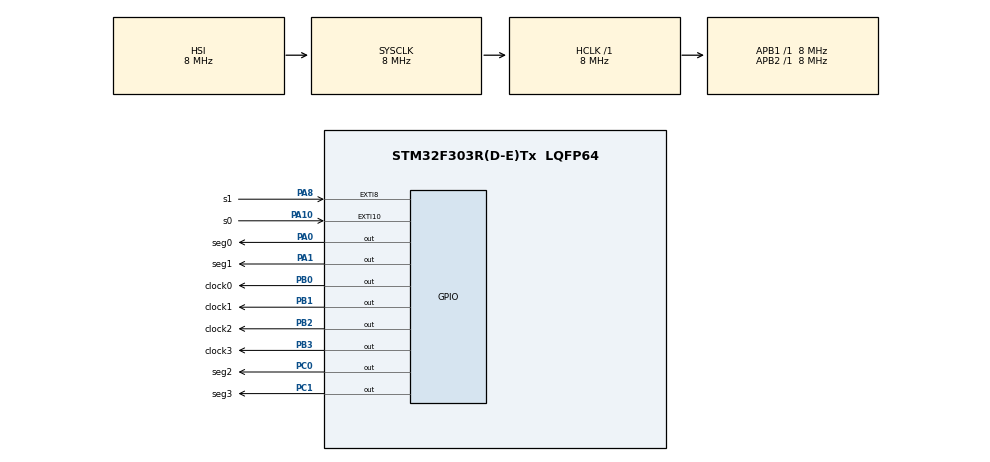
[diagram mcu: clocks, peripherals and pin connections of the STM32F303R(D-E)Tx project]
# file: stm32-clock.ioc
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Mcu.Family=STM32F3
Mcu.Name=STM32F303R(D-E)Tx
Mcu.Package=LQFP64
NVIC.EXTI15_10_IRQn=true\:0\:0\:true\:false\:true\:true\:true\:true
NVIC.EXTI9_5_IRQn=true\:0\:0\:false\:false\:true\:true\:true\:true
NVIC.PriorityGroup=NVIC_PRIORITYGROUP_4
NVIC.TIM3_IRQn=true\:0\:0\:true\:false\:true\:true\:true\:true
NVIC.TIM4_IRQn=true\:0\:0\:true\:false\:true\:true\:true\:true
PA0.GPIO_Label=seg0
PA0.Signal=GPIO_Output
PA1.GPIO_Label=seg1
PA1.Signal=GPIO_Output
PA10.GPIO_Label=s0
PA10.GPIO_ModeDefaultEXTI=GPIO_MODE_IT_FALLING
PA10.GPIO_PuPd=GPIO_PULLUP
PA10.Signal=GPXTI10
PA8.GPIO_Label=s1
PA8.GPIO_ModeDefaultEXTI=GPIO_MODE_IT_FALLING
PA8.GPIO_PuPd=GPIO_PULLUP
PA8.Signal=GPXTI8
PB0.GPIO_Label=clock0
PB0.Signal=GPIO_Output
PB1.GPIO_Label=clock1
PB1.Signal=GPIO_Output
PB2.GPIO_Label=clock2
PB2.Signal=GPIO_Output
PB3.GPIO_Label=clock3
PB3.Signal=GPIO_Output
PC0.GPIO_Label=seg2
PC0.Signal=GPIO_Output
PC1.GPIO_Label=seg3
PC1.Signal=GPIO_Output
PC14-OSC32_IN.Mode=LSE-External-Oscillator
PC14-OSC32_IN.Signal=RCC_OSC32_IN
PC15-OSC32_OUT.Mode=LSE-External-Oscillator
PC15-OSC32_OUT.Signal=RCC_OSC32_OUT
ProjectManager.HeapSize=0x200
ProjectManager.StackSize=0x400
ProjectManager.TargetToolchain=STM32CubeIDE
RCC.AHBFreq_Value=8000000
RCC.APB1Freq_Value=8000000
RCC.APB2Freq_Value=8000000
RCC.CortexFreq_Value=8000000
RCC.HSE_VALUE=8000000
RCC.HSI_VALUE=8000000
RCC.RTCClockSelection=RCC_RTCCLKSOURCE_LSE
RCC.SYSCLKFreq_VALUE=8000000
RCC.USBFreq_Value=16000000
RTC.Format=RTC_FORMAT_BIN
RTC.Hours=20
RTC.Minutes=53
TIM3.AutoReloadPreload=TIM_AUTORELOAD_PRELOAD_ENABLE
TIM3.Period=1000-1
TIM3.Prescaler=16
TIM4.AutoReloadPreload=TIM_AUTORELOAD_PRELOAD_ENABLE
TIM4.Period=1000-1
TIM4.Prescaler=4000
VP_RTC_VS_RTC_Activate.Mode=RTC_Enabled
VP_RTC_VS_RTC_Calendar.Mode=RTC_Calendar
VP_TIM3_VS_ClockSourceITR.Mode=TriggerSource_ITR0
VP_TIM4_VS_ClockSourceITR.Mode=TriggerSource_ITR0
board=custom

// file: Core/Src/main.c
/* USER CODE BEGIN Header */
/**
  ******************************************************************************
  * @file           : main.c
  * @brief          : Main program body
  ******************************************************************************
  * @attention
  *
  * Copyright (c) 2022 STMicroelectronics.
  * All rights reserved.
  *
  * This software is licensed under terms that can be found in the LICENSE file
  * in the root directory of this software component.
  * If no LICENSE file comes with this software, it is provided AS-IS.
  *
  ******************************************************************************
  *
  *		Name:	STM32 clock with 7-segment display
  *	  Author:	crlhz
  *	  	Date: 	2023-02-24
  *
  *	  github:	https://github.com/crlhz
  *	 contact:	crlhz@proton.me
  *
  ******************************************************************************
  */
/* USER CODE END Header */
#include "main.h"
#include "rtc.h"
#include "tim.h"
#include "gpio.h"

/* USER CODE BEGIN Includes */
#include "7seg_4056.h"
#include "clock.h"

/*
 * 	WARNING: In case of using STM32CubeMX, replace 65 and 66 lines with following:
 *
 * 	  	sTime.Hours = rtc_time.d_hours * 10 + rtc_time.u_hours;
 * 	  	sTime.Minutes = rtc_time.d_minutes * 10 + rtc_time.u_minutes;
 */

/* USER CODE END Includes */

/* USER CODE BEGIN PV */
RTC_TimeTypeDef time;
RTC_DateTypeDef date;

segments value = {0, 0, 0, 0};
mytime temp_time = {0, 0, 0, 0};
/* USER CODE END PV */

void SystemClock_Config(void);
/* USER CODE BEGIN PFP */
void HAL_TIM_PeriodElapsedCallback(TIM_HandleTypeDef* htim){

	if(htim == &htim3){
		//here specific values are sent to displays
		seg_display(value.seg0, value.seg1, value.seg2, value.seg3);

		//clock_time_set == 0 -> time isn't set, so handle buttons
		//clock_time_set == 1 -> time is set, so initialize RTC
		//clock_time_set == 2 -> time is set and RTC is initialized so get time and display it
		switch(clock_time_set){
			case 0:
				temp_time = clock_button_handler();
				break;
			case 1:
				MX_RTC_Init();
				HAL_TIM_Base_Stop_IT(&htim4);
				clock_time_set = 2;
			case 2:
				HAL_RTC_GetTime(&hrtc, &time, RTC_FORMAT_BIN);
				HAL_RTC_GetDate(&hrtc, &date, RTC_FORMAT_BIN);
				value.seg0 = time.Hours / 10;
				value.seg1 = time.Hours % 10;
				value.seg2 = time.Minutes / 10;
				value.seg3 = time.Minutes % 10;
				break;
			default:
				clock_time_set = 0;
			}
	}

	if(htim == &htim4){
		value = clock_set_mode(temp_time.d_hours, temp_time.u_hours, temp_time.d_minutes, temp_time.u_minutes);
	}
}

void HAL_GPIO_EXTI_Callback(uint16_t GPIO_Pin){

	if(GPIO_Pin == s0_Pin){
		clock_active_button = 0;
	}

	if(GPIO_Pin == s1_Pin){
		clock_active_button = 1;
	}

}

/* USER CODE END PFP */

int main(void)
{

  /* MCU Configuration--------------------------------------------------------*/

  /* Reset of all peripherals, Initializes the Flash interface and the Systick. */
  HAL_Init();

  /* Configure the system clock */
  SystemClock_Config();

  /* Initialize all configured peripherals */
  MX_GPIO_Init();
  MX_RTC_Init();
  MX_TIM3_Init();
  MX_TIM4_Init();
  /* USER CODE BEGIN 2 */
  HAL_GPIO_WritePin(seg0_GPIO_Port, seg0_Pin, GPIO_PIN_RESET);
  HAL_GPIO_WritePin(seg1_GPIO_Port, seg1_Pin, GPIO_PIN_RESET);
  HAL_GPIO_WritePin(seg2_GPIO_Port, seg2_Pin, GPIO_PIN_RESET);
  HAL_GPIO_WritePin(seg3_GPIO_Port, seg3_Pin, GPIO_PIN_RESET);

  HAL_TIM_Base_Start_IT(&htim3);
  HAL_TIM_Base_Start_IT(&htim4);
  /* USER CODE END 2 */

  /* Infinite loop */
  while (1)
  {

  }
}

void SystemClock_Config(void)
{
  RCC_OscInitTypeDef RCC_OscInitStruct = {0};
  RCC_ClkInitTypeDef RCC_ClkInitStruct = {0};
  RCC_PeriphCLKInitTypeDef PeriphClkInit = {0};

  /** Configure LSE Drive Capability
  */
  HAL_PWR_EnableBkUpAccess();
  __HAL_RCC_LSEDRIVE_CONFIG(RCC_LSEDRIVE_LOW);

  /** Initializes the RCC Oscillators according to the specified parameters
  * in the RCC_OscInitTypeDef structure.
  */
  RCC_OscInitStruct.OscillatorType = RCC_OSCILLATORTYPE_HSI|RCC_OSCILLATORTYPE_LSE;
  RCC_OscInitStruct.LSEState = RCC_LSE_ON;
  RCC_OscInitStruct.HSIState = RCC_HSI_ON;
  RCC_OscInitStruct.HSICalibrationValue = RCC_HSICALIBRATION_DEFAULT;
  RCC_OscInitStruct.PLL.PLLState = RCC_PLL_NONE;
  if (HAL_RCC_OscConfig(&RCC_OscInitStruct) != HAL_OK)
  {
    Error_Handler();
  }

  /** Initializes the CPU, AHB and APB buses clocks
  */
  RCC_ClkInitStruct.ClockType = RCC_CLOCKTYPE_HCLK|RCC_CLOCKTYPE_SYSCLK
                              |RCC_CLOCKTYPE_PCLK1|RCC_CLOCKTYPE_PCLK2;
  RCC_ClkInitStruct.SYSCLKSource = RCC_SYSCLKSOURCE_HSI;
  RCC_ClkInitStruct.AHBCLKDivider = RCC_SYSCLK_DIV1;
  RCC_ClkInitStruct.APB1CLKDivider = RCC_HCLK_DIV1;
  RCC_ClkInitStruct.APB2CLKDivider = RCC_HCLK_DIV1;

  if (HAL_RCC_ClockConfig(&RCC_ClkInitStruct, FLASH_LATENCY_0) != HAL_OK)
  {
    Error_Handler();
  }
  PeriphClkInit.PeriphClockSelection = RCC_PERIPHCLK_RTC|RCC_PERIPHCLK_TIM34;
  PeriphClkInit.RTCClockSelection = RCC_RTCCLKSOURCE_LSE;
  PeriphClkInit.Tim34ClockSelection = RCC_TIM34CLK_HCLK;
  if (HAL_RCCEx_PeriphCLKConfig(&PeriphClkInit) != HAL_OK)
  {
    Error_Handler();
  }
}

void Error_Handler(void)
{
  __disable_irq();
  while (1)
  {
  }
}
